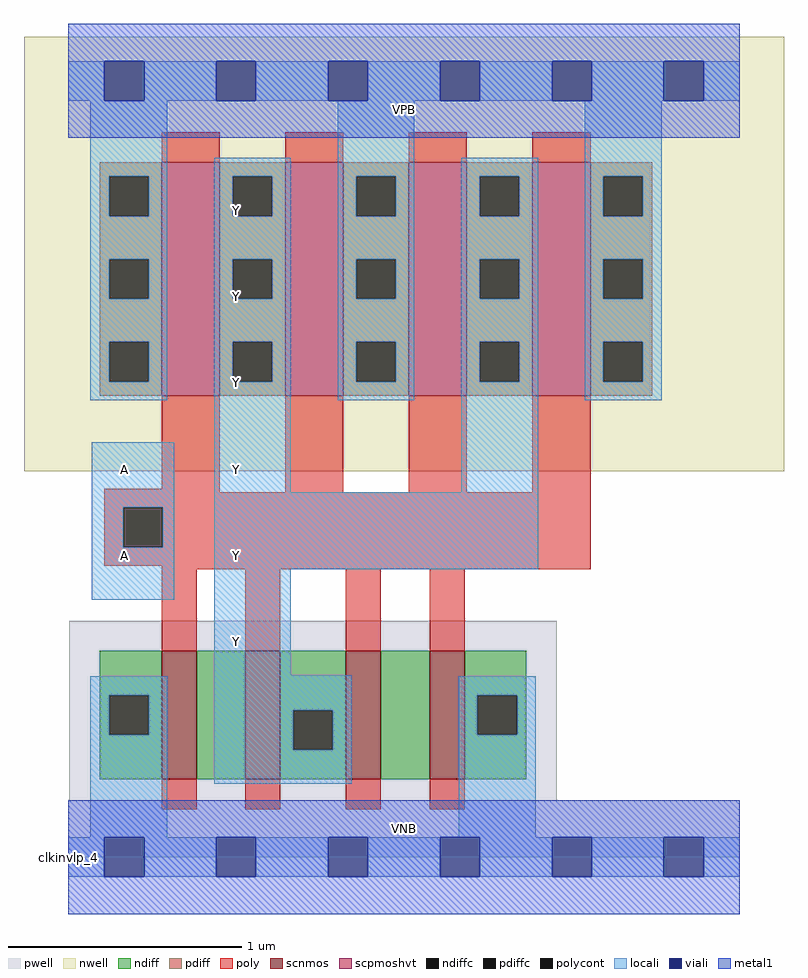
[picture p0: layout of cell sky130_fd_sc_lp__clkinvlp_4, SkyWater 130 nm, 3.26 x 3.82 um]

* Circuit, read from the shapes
.subckt sky130_fd_sc_lp__clkinvlp_4 A VGND VNB VPB VPWR Y
XM1 n1 A VGND VNB sky130_fd_pr__nfet_01v8 w=0.55 l=0.15
XM2 Y A n1 VNB sky130_fd_pr__nfet_01v8 w=0.55 l=0.15
XM3 n2 A Y VNB sky130_fd_pr__nfet_01v8 w=0.55 l=0.15
XM4 VGND A n2 VNB sky130_fd_pr__nfet_01v8 w=0.55 l=0.15
XM5 Y A VPWR VPB sky130_fd_pr__pfet_01v8_hvt w=1 l=0.25 m=4
.ends

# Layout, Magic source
magic
tech sky130A
magscale 1 2
<< nwell >>
rect -38 331 614 704
<< pwell >>
rect 1 49 419 203
rect 0 0 576 49
<< scnmos >>
rect 80 67 110 177
rect 152 67 182 177
rect 238 67 268 177
rect 310 67 340 177
<< scpmoshvt >>
rect 80 396 130 596
rect 186 396 236 596
rect 292 396 342 596
rect 398 396 448 596
<< ndiff >>
rect 27 139 80 177
rect 27 105 35 139
rect 69 105 80 139
rect 27 67 80 105
rect 110 67 152 177
rect 182 126 238 177
rect 182 92 193 126
rect 227 92 238 126
rect 182 67 238 92
rect 268 67 310 177
rect 340 139 393 177
rect 340 105 351 139
rect 385 105 393 139
rect 340 67 393 105
<< pdiff >>
rect 27 584 80 596
rect 27 550 35 584
rect 69 550 80 584
rect 27 513 80 550
rect 27 479 35 513
rect 69 479 80 513
rect 27 442 80 479
rect 27 408 35 442
rect 69 408 80 442
rect 27 396 80 408
rect 130 584 186 596
rect 130 550 141 584
rect 175 550 186 584
rect 130 513 186 550
rect 130 479 141 513
rect 175 479 186 513
rect 130 442 186 479
rect 130 408 141 442
rect 175 408 186 442
rect 130 396 186 408
rect 236 584 292 596
rect 236 550 247 584
rect 281 550 292 584
rect 236 513 292 550
rect 236 479 247 513
rect 281 479 292 513
rect 236 442 292 479
rect 236 408 247 442
rect 281 408 292 442
rect 236 396 292 408
rect 342 584 398 596
rect 342 550 353 584
rect 387 550 398 584
rect 342 513 398 550
rect 342 479 353 513
rect 387 479 398 513
rect 342 442 398 479
rect 342 408 353 442
rect 387 408 398 442
rect 342 396 398 408
rect 448 584 501 596
rect 448 550 459 584
rect 493 550 501 584
rect 448 513 501 550
rect 448 479 459 513
rect 493 479 501 513
rect 448 442 501 479
rect 448 408 459 442
rect 493 408 501 442
rect 448 396 501 408
<< ndiffc >>
rect 35 105 69 139
rect 193 92 227 126
rect 351 105 385 139
<< pdiffc >>
rect 35 550 69 584
rect 35 479 69 513
rect 35 408 69 442
rect 141 550 175 584
rect 141 479 175 513
rect 141 408 175 442
rect 247 550 281 584
rect 247 479 281 513
rect 247 408 281 442
rect 353 550 387 584
rect 353 479 387 513
rect 353 408 387 442
rect 459 550 493 584
rect 459 479 493 513
rect 459 408 493 442
<< poly >>
rect 80 596 130 622
rect 186 596 236 622
rect 292 596 342 622
rect 398 596 448 622
rect 80 316 130 396
rect 31 313 130 316
rect 186 313 236 396
rect 292 313 342 396
rect 398 313 448 396
rect 31 300 448 313
rect 31 266 47 300
rect 81 266 448 300
rect 31 250 448 266
rect 80 247 448 250
rect 80 177 110 247
rect 152 177 182 247
rect 238 177 268 247
rect 310 177 340 247
rect 80 41 110 67
rect 152 41 182 67
rect 238 41 268 67
rect 310 41 340 67
<< polycont >>
rect 47 266 81 300
<< locali >>
rect 0 649 31 683
rect 65 649 127 683
rect 161 649 223 683
rect 257 649 319 683
rect 353 649 415 683
rect 449 649 511 683
rect 545 649 576 683
rect 19 584 85 649
rect 19 550 35 584
rect 69 550 85 584
rect 19 513 85 550
rect 19 479 35 513
rect 69 479 85 513
rect 19 442 85 479
rect 19 408 35 442
rect 69 408 85 442
rect 19 392 85 408
rect 125 584 191 600
rect 125 550 141 584
rect 175 550 191 584
rect 125 513 191 550
rect 125 479 141 513
rect 175 479 191 513
rect 125 442 191 479
rect 125 408 141 442
rect 175 408 191 442
rect 20 300 91 356
rect 20 266 47 300
rect 81 266 91 300
rect 20 221 91 266
rect 125 313 191 408
rect 231 584 297 649
rect 231 550 247 584
rect 281 550 297 584
rect 231 513 297 550
rect 231 479 247 513
rect 281 479 297 513
rect 231 442 297 479
rect 231 408 247 442
rect 281 408 297 442
rect 231 392 297 408
rect 337 584 403 600
rect 337 550 353 584
rect 387 550 403 584
rect 337 513 403 550
rect 337 479 353 513
rect 387 479 403 513
rect 337 442 403 479
rect 337 408 353 442
rect 387 408 403 442
rect 337 313 403 408
rect 443 584 509 649
rect 443 550 459 584
rect 493 550 509 584
rect 443 513 509 550
rect 443 479 459 513
rect 493 479 509 513
rect 443 442 509 479
rect 443 408 459 442
rect 493 408 509 442
rect 443 392 509 408
rect 125 247 403 313
rect 125 156 191 247
rect 19 139 85 155
rect 19 105 35 139
rect 69 105 85 139
rect 19 17 85 105
rect 125 126 243 156
rect 125 92 193 126
rect 227 92 243 126
rect 125 63 243 92
rect 335 139 401 155
rect 335 105 351 139
rect 385 105 401 139
rect 335 17 401 105
rect 0 -17 31 17
rect 65 -17 127 17
rect 161 -17 223 17
rect 257 -17 319 17
rect 353 -17 415 17
rect 449 -17 511 17
rect 545 -17 576 17
<< viali >>
rect 31 649 65 683
rect 127 649 161 683
rect 223 649 257 683
rect 319 649 353 683
rect 415 649 449 683
rect 511 649 545 683
rect 31 -17 65 17
rect 127 -17 161 17
rect 223 -17 257 17
rect 319 -17 353 17
rect 415 -17 449 17
rect 511 -17 545 17
<< metal1 >>
rect 0 683 576 715
rect 0 649 31 683
rect 65 649 127 683
rect 161 649 223 683
rect 257 649 319 683
rect 353 649 415 683
rect 449 649 511 683
rect 545 649 576 683
rect 0 617 576 649
rect 0 17 576 49
rect 0 -17 31 17
rect 65 -17 127 17
rect 161 -17 223 17
rect 257 -17 319 17
rect 353 -17 415 17
rect 449 -17 511 17
rect 545 -17 576 17
rect 0 -49 576 -17
<< labels >>
flabel pwell s 0 0 576 49 0 FreeSans 200 0 0 0 VNB
port 3 nsew ground bidirectional
flabel nwell s 0 617 576 666 0 FreeSans 200 0 0 0 VPB
port 4 nsew power bidirectional
rlabel comment s 0 0 0 0 4 clkinvlp_4
flabel metal1 s 0 617 576 666 0 FreeSans 340 0 0 0 VPWR
port 5 nsew power bidirectional
flabel metal1 s 0 0 576 49 0 FreeSans 340 0 0 0 VGND
port 2 nsew ground bidirectional
flabel locali s 31 242 65 276 0 FreeSans 340 0 0 0 A
port 1 nsew signal input
flabel locali s 31 316 65 350 0 FreeSans 340 0 0 0 A
port 1 nsew signal input
flabel locali s 127 168 161 202 0 FreeSans 340 0 0 0 Y
port 6 nsew signal output
flabel locali s 127 242 161 276 0 FreeSans 340 0 0 0 Y
port 6 nsew signal output
flabel locali s 127 316 161 350 0 FreeSans 340 0 0 0 Y
port 6 nsew signal output
flabel locali s 127 390 161 424 0 FreeSans 340 0 0 0 Y
port 6 nsew signal output
flabel locali s 127 464 161 498 0 FreeSans 340 0 0 0 Y
port 6 nsew signal output
flabel locali s 127 538 161 572 0 FreeSans 340 0 0 0 Y
port 6 nsew signal output
<< properties >>
string LEFsite unit
string LEFclass CORE
string FIXED_BBOX 0 0 576 666
string GDS_FILE $PDKPATH/libs.ref/sky130_fd_sc_lp/gds/sky130_fd_sc_lp.gds
string LEFsymmetry X Y R90
string GDS_END 2230934
string GDS_START 2225862
<< end >>
